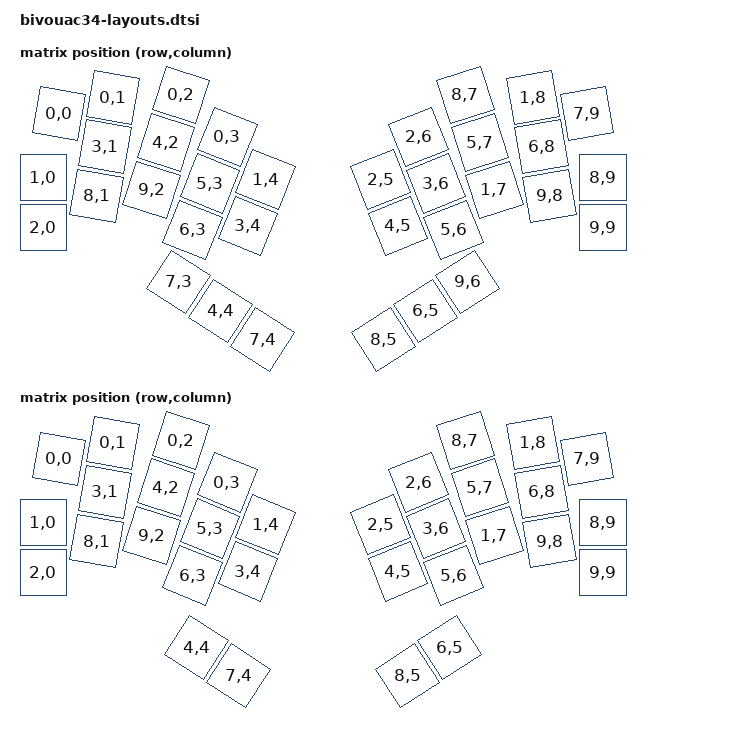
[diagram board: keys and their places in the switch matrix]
#include <physical_layouts.dtsi>

/*
 * Logical rows approximating physical layout, 34 key default:
 *
 * Q 	W 	E 	R 	T   	-----	-----	    Y 	U 	I 	O 	P
 * A 	S 	D 	F 	G   	-----	-----	    H 	J 	K 	L 	;
 * Z 	X 	C 	V 	----	-----	-----	-----	M 	, 	. 	/
 *   	  	  	B	BkSp	LShft	RShft	Space	N
 *
 * The 32-key form drops the thumb keys labeled B and N above.
 */

/ {
    matrix_transform34: matrix_transform34 {
        compatible = "zmk,matrix-transform";
        columns = <10>;
        rows = <10>;
        map = <
            RC(0,0) RC(0,1) RC(0,2) RC(0,3) RC(1,4)                      RC(2,5) RC(2,6) RC(8,7) RC(1,8) RC(7,9)
            RC(1,0) RC(3,1) RC(4,2) RC(5,3) RC(3,4)                      RC(4,5) RC(3,6) RC(5,7) RC(6,8) RC(8,9)
            RC(2,0) RC(8,1) RC(9,2) RC(6,3)                                      RC(5,6) RC(1,7) RC(9,8) RC(9,9)
                                    RC(7,3) RC(4,4) RC(7,4)      RC(8,5) RC(6,5) RC(9,6)
        >;
    };

    matrix_transform32: matrix_transform32 {
        compatible = "zmk,matrix-transform";
        columns = <10>;
        rows = <10>;
        map = <
            RC(0,0) RC(0,1) RC(0,2) RC(0,3) RC(1,4)                      RC(2,5) RC(2,6) RC(8,7) RC(1,8) RC(7,9)
            RC(1,0) RC(3,1) RC(4,2) RC(5,3) RC(3,4)                      RC(4,5) RC(3,6) RC(5,7) RC(6,8) RC(8,9)
            RC(2,0) RC(8,1) RC(9,2) RC(6,3)                                      RC(5,6) RC(1,7) RC(9,8) RC(9,9)
                                            RC(4,4) RC(7,4)      RC(8,5) RC(6,5)
        >;
    };

    physical_layout34: physical_layout34 {
        compatible = "zmk,physical-layout";
        display-name = "34-keys";

        kscan = <&kscan0>;
        transform = <&matrix_transform34>;

        keys  //                     w   h    x    y     rot    rx    ry
            = <&key_physical_attrs 100 100   32   37    1000    82    87>
            , <&key_physical_attrs 100 100  140    5    1000   190    55>
            , <&key_physical_attrs 100 100  276    0    1800   326    50>
            , <&key_physical_attrs 100 100  369   84    2200   419   134>
            , <&key_physical_attrs 100 100  445  169    2200   495   219>
            , <&key_physical_attrs 100 100  675  169 (-2200)   725   219>
            , <&key_physical_attrs 100 100  751   84 (-2200)   801   134>
            , <&key_physical_attrs 100 100  845    0 (-1800)   895    50>
            , <&key_physical_attrs 100 100  980    5 (-1000)  1030    55>
            , <&key_physical_attrs 100 100 1088   37 (-1000)  1138    87>
            , <&key_physical_attrs 100 100    0  165       0     0   165>
            , <&key_physical_attrs 100 100  124  103    1000   174   153>
            , <&key_physical_attrs 100 100  246   95    1800   296   145>
            , <&key_physical_attrs 100 100  334  177    2200   384   227>
            , <&key_physical_attrs 100 100  410  262    2200   460   312>
            , <&key_physical_attrs 100 100  710  262 (-2200)   760   312>
            , <&key_physical_attrs 100 100  786  177 (-2200)   836   227>
            , <&key_physical_attrs 100 100  874   95 (-1800)   924   145>
            , <&key_physical_attrs 100 100  997  103 (-1000)  1047   153>
            , <&key_physical_attrs 100 100 1120  165       0  1120   165>
            , <&key_physical_attrs 100 100    0  265       0     0   265>
            , <&key_physical_attrs 100 100  107  202    1000   157   252>
            , <&key_physical_attrs 100 100  217  190    1800   267   240>
            , <&key_physical_attrs 100 100  299  270    2200   349   320>
            , <&key_physical_attrs 100 100  821  270 (-2200)   871   320>
            , <&key_physical_attrs 100 100  903  190 (-1800)   953   240>
            , <&key_physical_attrs 100 100 1013  202 (-1000)  1063   252>
            , <&key_physical_attrs 100 100 1120  265       0  1120   265>
            , <&key_physical_attrs 100 100  271  374    3300   321   424>
            , <&key_physical_attrs 100 100  355  432    3300   405   482>
            , <&key_physical_attrs 100 100  439  489    3300   489   539>
            , <&key_physical_attrs 100 100  681  489 (-3300)   731   539>
            , <&key_physical_attrs 100 100  765  432 (-3300)   815   482>
            , <&key_physical_attrs 100 100  849  374 (-3300)   899   424>
            ;
    };

    physical_layout32: physical_layout32 {
        compatible = "zmk,physical-layout";
        display-name = "32-key";

        kscan = <&kscan0>;
        transform = <&matrix_transform32>;

        keys  //                     w   h    x    y     rot    rx    ry
            = <&key_physical_attrs 100 100   32   37    1000    82    87>
            , <&key_physical_attrs 100 100  140    5    1000   190    55>
            , <&key_physical_attrs 100 100  276    0    1800   326    50>
            , <&key_physical_attrs 100 100  369   84    2200   419   134>
            , <&key_physical_attrs 100 100  445  169    2200   495   219>
            , <&key_physical_attrs 100 100  675  169 (-2200)   725   219>
            , <&key_physical_attrs 100 100  751   84 (-2200)   801   134>
            , <&key_physical_attrs 100 100  845    0 (-1800)   895    50>
            , <&key_physical_attrs 100 100  980    5 (-1000)  1030    55>
            , <&key_physical_attrs 100 100 1088   37 (-1000)  1138    87>
            , <&key_physical_attrs 100 100    0  165       0     0   165>
            , <&key_physical_attrs 100 100  124  103    1000   174   153>
            , <&key_physical_attrs 100 100  246   95    1800   296   145>
            , <&key_physical_attrs 100 100  334  177    2200   384   227>
            , <&key_physical_attrs 100 100  410  262    2200   460   312>
            , <&key_physical_attrs 100 100  710  262 (-2200)   760   312>
            , <&key_physical_attrs 100 100  786  177 (-2200)   836   227>
            , <&key_physical_attrs 100 100  874   95 (-1800)   924   145>
            , <&key_physical_attrs 100 100  997  103 (-1000)  1047   153>
            , <&key_physical_attrs 100 100 1120  165       0  1120   165>
            , <&key_physical_attrs 100 100    0  265       0     0   265>
            , <&key_physical_attrs 100 100  107  202    1000   157   252>
            , <&key_physical_attrs 100 100  217  190    1800   267   240>
            , <&key_physical_attrs 100 100  299  270    2200   349   320>
            , <&key_physical_attrs 100 100  821  270 (-2200)   871   320>
            , <&key_physical_attrs 100 100  903  190 (-1800)   953   240>
            , <&key_physical_attrs 100 100 1013  202 (-1000)  1063   252>
            , <&key_physical_attrs 100 100 1120  265       0  1120   265>
            , <&key_physical_attrs 100 100  307  414    3300   357   464>
            , <&key_physical_attrs 100 100  391  471    3300   441   521>
            , <&key_physical_attrs 100 100  729  471 (-3300)   779   521>
            , <&key_physical_attrs 100 100  813  414 (-3300)   863   464>
            ;
    };
};

/ {
    position_map {
        compatible = "zmk,physical-layout-position-map";

        physical_layout34 {
            physical-layout = <&physical_layout34>;
            positions = <28 29 30 31 32 33>;
        };

        physical_layout32 {
            physical-layout = <&physical_layout32>;
            positions = <32 28 29 30 31 33>;
        };
    };
};
